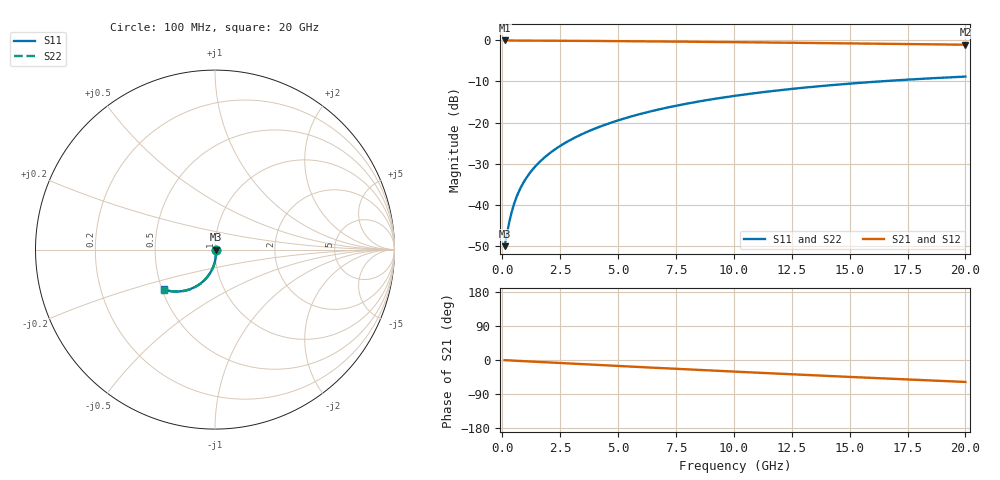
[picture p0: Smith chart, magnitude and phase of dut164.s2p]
! Touchstone file exported from HFSS 2026.1.0
!  File:  C:/ffzhzh/LocalFiles/Ansys_Project_Files/temp_train_BSMRDL_164_1782986856_41620.aedt
!  Generated:  06:09:56 PM Jul  2, 2026
!  Design:  BSMRDL
!  Project:  temp_train_BSMRDL_164_1782986856_41620
! Variables:
!  h_bsmrdl = 4.71um
!  h_ox = 20um
!  h_rdl = 5um
!  h_sub = 80um
!  h_tmrdl = 5um
!  h_tsv = 80um
!  h_via = 3um
!  l_bsmrdl = 961.6um
!  l_sub = 1361.6um
!  l_tmrdl = 200um
!  m_sub = 200um
!  pitch = 30.98um
!  r_tsv = 6um
!  s_tmrdl = 10um
!  w_bsmrdl = 29.27um
!  w_sub = 500um
!  w_tmrdl = 12um
!  x_tsv_center1 = 206um
!  x_tsv_center2 = 1196.87um
!  x_tsv_center3 = 1408.87um
!  x_tsv_center4 = 2399.74um
!  x_tsv_center5 = 2611.74um
!  x_tsv_center6 = 3602.61um
# GHz S MA R 50.000000
! Terminal data exported
! Port[1] = BSM_RDL1_1_T1
! Port[2] = BSM_RDL1_1_T2
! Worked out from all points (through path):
!   200 points, 100 MHz to 20 GHz, reference 50 ohm
!   highest |S21| = -0.03 dB at 100 MHz (marker M1); lowest = -1.1 dB at 20 GHz (marker M2)
!   group delay of S21, straight-line fit = 8.02 ps
!   lowest |S11| = -50.1 dB at 100 MHz (marker M3), VSWR 1.01, Z = 50.3 - j0.0885 ohm
!   |S11| at or under -10 dB: start of sweep to 16.3 GHz
!   |S22| runs from -50.1 to -8.8 dB; largest |S21 - S12| = 1.1e-14
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0.1  0.003126 -16.3  0.997 -0.4  0.997 -0.4  0.003126 -16.3
! Gamma 0 0 0 0
! Port Impedance 50 0 50 0
0.3  0.006126 -42.3  0.9954 -1.1  0.9954 -1.1  0.006126 -42.3
0.4  0.008045 -50.8  0.9948 -1.4  0.9948 -1.4  0.008045 -50.8
0.5  0.01005 -57.2  0.9943 -1.7  0.9943 -1.7  0.01005 -57.2
0.6  0.01209 -62.1  0.9939 -2.0  0.9939 -2.0  0.01209 -62.1
0.8  0.01621 -68.9  0.9934 -2.7  0.9934 -2.7  0.01621 -68.9
1.1  0.02243 -75.2  0.9927 -3.6  0.9927 -3.6  0.02244 -75.2
1.3  0.0266 -78.0  0.9923 -4.2  0.9923 -4.2  0.0266 -78.0
1.5  0.03077 -80.2  0.9918 -4.9  0.9918 -4.9  0.03078 -80.2
1.8  0.03707 -82.9  0.991 -5.8  0.991 -5.8  0.03707 -82.8
2.1  0.0434 -84.9  0.9902 -6.8  0.9902 -6.8  0.04341 -84.9
2.7  0.05619 -88.2  0.9882 -8.7  0.9882 -8.7  0.0562 -88.2
3.5  0.07346 -91.7  0.9852 -11.2  0.9852 -11.2  0.07347 -91.7
4.2  0.0887 -94.5  0.9823 -13.3  0.9823 -13.3  0.08871 -94.4
5  0.1062 -97.4  0.9786 -15.8  0.9786 -15.8  0.1062 -97.4
5.9  0.1257 -100.6  0.9742 -18.5  0.9742 -18.5  0.1258 -100.5
6.8  0.1451 -103.6  0.9696 -21.2  0.9696 -21.2  0.1451 -103.6
8.3  0.1765 -108.6  0.9613 -25.6  0.9613 -25.6  0.1765 -108.5
10.1  0.2123 -114.3  0.9505 -30.9  0.9505 -30.9  0.2124 -114.2
13.4  0.2717 -124.2  0.9291 -40.2  0.9291 -40.2  0.2718 -124.1
16.7  0.3218 -133.5  0.9067 -49.2  0.9067 -49.2  0.3219 -133.3
20  0.3622 -142.2  0.8849 -57.9  0.8849 -57.9  0.3624 -142.1
